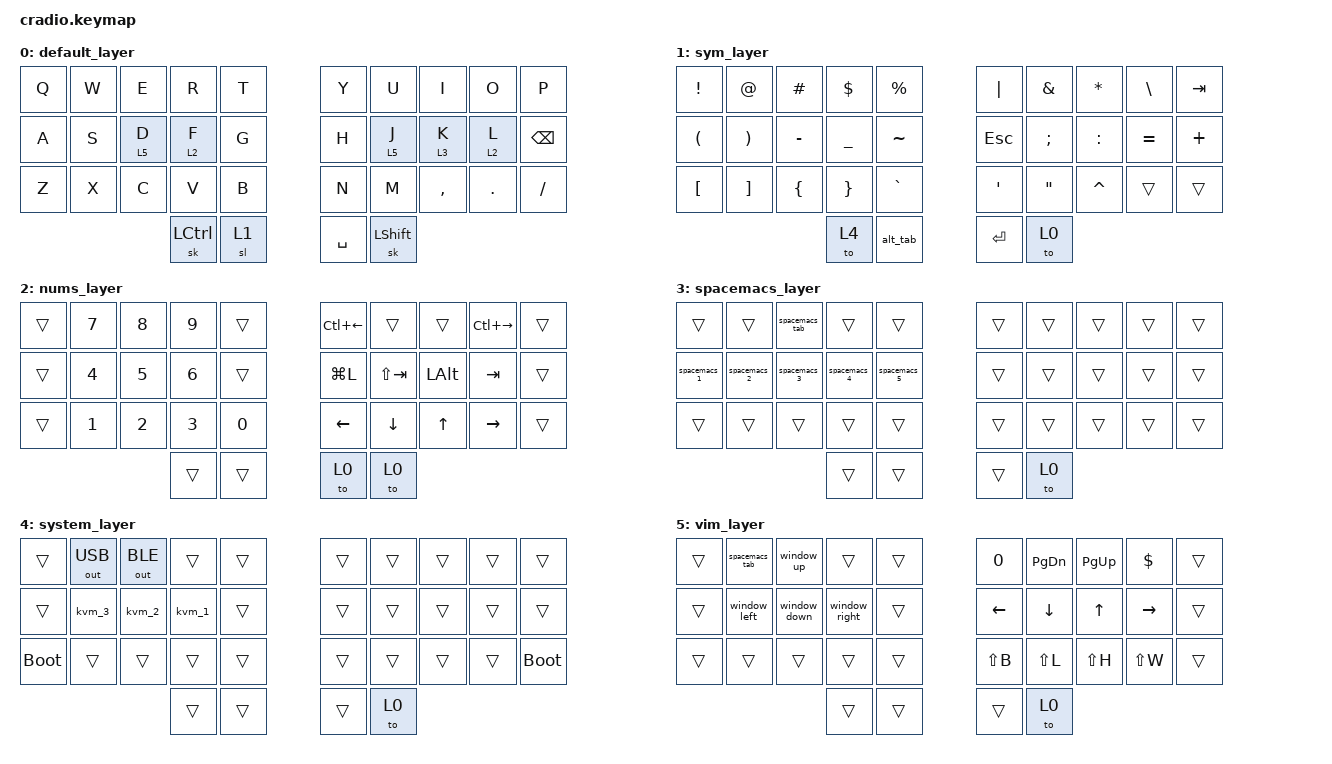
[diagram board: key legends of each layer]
/*
 * Copyright (c) 2020 The ZMK Contributors
 *
 * SPDX-License-Identifier: MIT
 */

#include <behaviors.dtsi>
#include <dt-bindings/zmk/keys.h>
#include <dt-bindings/zmk/bt.h>
#include <dt-bindings/zmk/outputs.h>

&mt {
   //  flavor = "tap-preferred";
   // tapping_term_ms = <200>;
};

/ {

    combos {
    };

    macros {
      ZMK_MACRO(spacemacs_1,
                wait-ms = <30>;
                tap-ms = <40>;
                bindings = <&kp LC(G) &kp SPACE &kp N1>;
                )
      ZMK_MACRO(spacemacs_2,
                wait-ms = <30>;
                tap-ms = <40>;
                bindings = <&kp LC(G) &kp SPACE &kp N2>;
                )
      ZMK_MACRO(spacemacs_3,
                wait-ms = <30>;
                tap-ms = <40>;
                bindings = <&kp LC(G) &kp SPACE &kp N3>;
                )
      ZMK_MACRO(spacemacs_4,
                wait-ms = <30>;
                tap-ms = <40>;
                bindings = <&kp LC(G) &kp SPACE &kp N4>;
                )
      ZMK_MACRO(spacemacs_5,
                wait-ms = <30>;
                tap-ms = <40>;
                bindings = <&kp LC(G) &kp SPACE &kp N5>;
                )
      ZMK_MACRO(spacemacs_tab,
                wait-ms = <30>;
                tap-ms = <40>;
                bindings = <&kp LC(G) &kp SPACE &kp TAB>;
                )
      ZMK_MACRO(alt_tab,
                wait-ms = <30>;
                tap-ms = <40>;
                bindings = <&macro_press &kp LALT>,
                <&macro_tap &kp TAB>,
                <&macro_release &kp LALT>;
                )
      ZMK_MACRO(kvm_1,
                wait-ms = <30>;
                tap-ms = <40>;
                bindings = <&macro_tap &kp SCROLLLOCK &kp SCROLLLOCK &kp N1>;
                )
      ZMK_MACRO(kvm_2,
                wait-ms = <30>;
                tap-ms = <40>;
                bindings = <&macro_tap &kp SCROLLLOCK &kp SCROLLLOCK &kp N2>;
                )
      ZMK_MACRO(kvm_3,
                wait-ms = <30>;
                tap-ms = <40>;
                bindings = <&macro_tap &kp SCROLLLOCK &kp SCROLLLOCK &kp N3>;
                )
    ZMK_MACRO(window_left,
              wait-ms = <30>;
              tap-ms = <40>;
              bindings = <&macro_tap &kp LC(W) &kp LEFT>;
              )

    ZMK_MACRO(window_right,
              wait-ms = <30>;
              tap-ms = <40>;
              bindings = <&macro_tap &kp LC(W) &kp RIGHT>;
              )

   ZMK_MACRO(window_up,
              wait-ms = <30>;
              tap-ms = <40>;
              bindings = <&macro_tap &kp LC(W) &kp UP>;
              )

   ZMK_MACRO(window_down,
              wait-ms = <30>;
              tap-ms = <40>;
              bindings = <&macro_tap &kp LC(W) &kp DOWN>;
              )

    };

    keymap {
            compatible = "zmk,keymap";

        // Base alpha layer
          default_layer {
    bindings = <
    &kp Q &kp W &kp E   &kp R   &kp T           &kp Y &kp U  &kp I     &kp O   &kp P
    &kp A &kp S &lt 5 D &lt 2 F &kp G           &kp H &lt 5 J  &lt 3 K   &lt 2 L &kp BACKSPACE
    &kp Z &kp X &kp C   &kp V   &kp B           &kp N &kp M  &kp COMMA &kp DOT &kp SLASH
             &sk LCTRL &sl 1                      &kp SPACE &sk LSHIFT
    >;
    };

        // Symbols
          sym_layer {
    bindings = <
    &kp EXCL     &kp AT      &kp HASH       &kp DOLLAR      &kp PERCENT        &kp PIPE     &kp AMPERSAND      &kp ASTERISK       &kp BACKSLASH       &kp TAB
    &kp LPAR         &kp RPAR &kp MINUS &kp UNDERSCORE &kp TILDE   &kp ESCAPE &kp SEMICOLON &kp COLON &kp EQUAL &kp PLUS
    &kp LEFT_BRACKET &kp RIGHT_BRACKET  &kp LEFT_BRACE &kp RIGHT_BRACE &kp GRAVE   &kp SINGLE_QUOTE  &kp DOUBLE_QUOTES &kp CARET &trans  &trans
                                                  &to 4  &alt_tab       &kp ENTER &to 0
    >;
    };

        // numbers and navigation
        nums_layer {
    bindings = <
    &trans  &kp N7 &kp N8 &kp N9  &trans      &kp LC(LEFT)  &trans        &trans        &kp LC(RIGHT) &trans
    &trans  &kp N4 &kp N5 &kp N6  &trans      &kp LG(L)     &kp LS(TAB)   &kp LEFT_ALT  &kp TAB       &trans
    &trans  &kp N1 &kp N2 &kp N3  &kp N0      &kp LEFT      &kp DOWN      &kp UP        &kp RIGHT     &trans
                                  &trans &trans    &to 0  &to 0
    >;
    };

        // spacemacs layer
          spacemacs_layer {
    bindings = <
    &trans &trans &spacemacs_tab &trans &trans                             &trans &trans &trans &trans &trans
    &spacemacs_1  &spacemacs_2 &spacemacs_3 &spacemacs_4 &spacemacs_5      &trans &trans &trans &trans &trans
    &trans &trans &trans &trans &trans                                     &trans &trans &trans &trans &trans
                             &trans &trans         &trans &to 0
    >;
    };

        // controls hardware behaviour
          system_layer {
    bindings = <
    &trans &out OUT_USB &out OUT_BLE &trans &trans                             &trans &trans &trans &trans &trans
    &trans  &kvm_3 &kvm_2 &kvm_1 &trans       &trans &trans &trans &trans &trans
    &bootloader &trans &trans &trans &trans                                     &trans &trans &trans &trans &bootloader
                             &trans &trans         &trans &to 0
    >;
    };

    // layer for vim navigation
        vim_layer {
    bindings = <
    &trans &spacemacs_tab &window_up   &trans &trans             &kp N0    &kp PAGE_DOWN &kp PAGE_UP &kp DOLLAR  &trans
    &trans &window_left   &window_down &window_right &trans      &kp LEFT  &kp DOWN      &kp UP      &kp RIGHT   &trans
    &trans &trans         &trans       &trans        &trans      &kp LS(B) &kp LS(L)     &kp LS(H)   &kp LS(W)   &trans
                             &trans &trans         &trans &to 0
    >;
    };
  };
};
